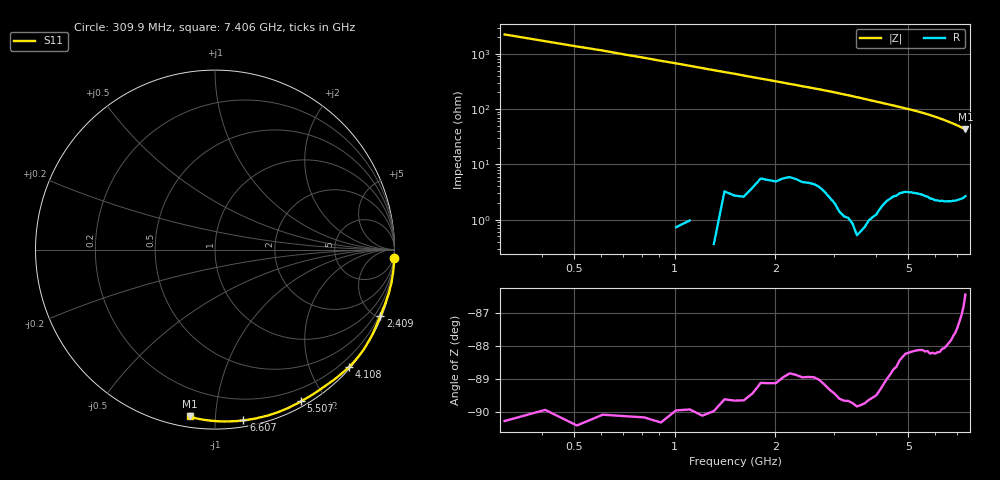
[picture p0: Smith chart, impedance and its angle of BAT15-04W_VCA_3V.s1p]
! Infineon Technologies  Discrete & RF Semiconductors
! BAT15-04W-E6327
! VCA = 3 V
! One-Port S-Parameters
# Hz  S  MA  R  50
!f  S11
!Hz  Mag  Ang
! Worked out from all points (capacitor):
!   72 points, 309.9 MHz to 7.406 GHz, reference 50 ohm
!   read as one part to ground: C = 229 fF near 309.9 MHz
!   lowest |Z| = 43 ohm at 7.406 GHz (marker M1)
!   S11 on the Smith chart (normalised r, x): 309.9 MHz: -0, -45; 2.409 GHz: 0.10, -5.19; 4.108 GHz: 0.03, -2.65; 5.507 GHz: 0.06, -1.72; 6.607 GHz: 0.04, -1.18; 7.406 GHz: 0.05, -0.86
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3.0985e8  1 -2.6
6.097e8  1 -5.0
9.0955e8  1.001 -7.6
1.2094e9  1 -10.3
1.6092e9  0.9984 -14.0
2.10895e9  0.9941 -18.8
2.4088e9  0.9932 -21.8
2.70865e9  0.9929 -24.7
3.0085e9  0.9954 -27.9
3.2084e9  0.9969 -30.2
3.50825e9  0.9982 -33.9
3.90805e9  0.9951 -38.8
4.10795e9  0.9923 -41.4
4.6077e9  0.9823 -47.8
4.8076e9  0.9777 -50.4
5.2074e9  0.9736 -55.9
5.50725e9  0.9718 -60.4
5.6072e9  0.9721 -61.9
5.70715e9  0.9715 -63.6
5.90705e9  0.9715 -67.0
6.10695e9  0.9706 -70.6
6.4068e9  0.9676 -76.5
6.6067e9  0.9646 -80.6
6.8066e9  0.9608 -84.8
7.0065e9  0.9565 -89.2
7.2064e9  0.9503 -93.8
7.30635e9  0.9463 -96.2
7.4063e9  0.9405 -98.6
